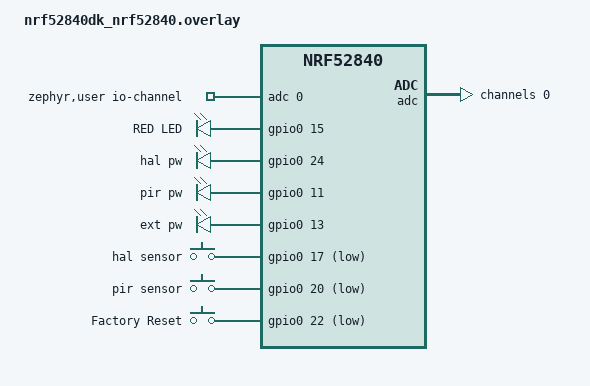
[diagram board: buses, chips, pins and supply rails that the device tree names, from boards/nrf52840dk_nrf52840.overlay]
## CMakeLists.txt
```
#
# Copyright (c) 2025 Nordic Semiconductor ASA
#
# SPDX-License-Identifier: LicenseRef-Nordic-5-Clause
#

cmake_minimum_required(VERSION 3.20.0)

find_package(Zephyr HINTS $ENV{ZEPHYR_BASE})

project(contact_sensor)

# Enable GNU STD support.
include(${ZEPHYR_CONNECTEDHOMEIP_MODULE_DIR}/config/nrfconnect/app/enable-gnu-std.cmake)

# NORDIC SDK APP START

# Include all source files that are located in the Matter common directory.
include(${ZEPHYR_NRF_MODULE_DIR}/samples/matter/common/cmake/source_common.cmake)

# Include Data Model utils
include(${ZEPHYR_NRF_MODULE_DIR}/samples/matter/common/cmake/data_model.cmake)

include(${ZEPHYR_NRF_MODULE_DIR}/samples/matter/common/cmake/zap_helpers.cmake)
ncs_get_zap_parent_dir(ZAP_PARENT_DIR)

target_include_directories(app PRIVATE
  src
  ${ZAP_PARENT_DIR}
)

target_sources(app PRIVATE
  src/app_task.cpp
  src/main.cpp
)

ncs_configure_data_model()
# NORDIC SDK APP END
```

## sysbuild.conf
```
#
# Copyright (c) 2025 Nordic Semiconductor
#
# SPDX-License-Identifier: LicenseRef-Nordic-5-Clause
#

SB_CONFIG_MATTER=y
SB_CONFIG_PARTITION_MANAGER=n
SB_CONFIG_MCUBOOT_MODE_SINGLE_APP=y
```

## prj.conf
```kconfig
#
# Copyright (c) 2025 Nordic Semiconductor ASA
#
# SPDX-License-Identifier: LicenseRef-Nordic-5-Clause
#
CONFIG_ADC=y
CONFIG_GPIO=y
CONFIG_BOOTLOADER_MCUBOOT=y

CONFIG_BOARD_SERIAL_BACKEND_CDC_ACM=n
CONFIG_CDC_ACM_SERIAL_INITIALIZE_AT_BOOT=n
CONFIG_WATCHDOG=y
# Enable CHIP
CONFIG_CHIP=y
CONFIG_CHIP_PROJECT_CONFIG="src/chip_project_config.h"
CONFIG_CHIP_DEVICE_PRODUCT_NAME="Matter Contact Sensor"
CONFIG_CHIP_NFC_ONBOARDING_PAYLOAD=n
# All debug output
CONFIG_SHELL=n
CONFIG_OPENTHREAD_SHELL=n
CONFIG_CHIP_LIB_SHELL=n
CONFIG_CONSOLE=n
CONFIG_UART_CONSOLE=n
CONFIG_SERIAL=n
CONFIG_LOG=n
CONFIG_PRINTK=n
CONFIG_BOOT_BANNER=n
CONFIG_CHIP_APP_LOG_LEVEL=1

CONFIG_SPI_NOR=n
CONFIG_PM_EXTERNAL_FLASH_MCUBOOT_SECONDARY=n
# Configure ZAP file name
CONFIG_NCS_SAMPLE_MATTER_ZAP_FILE_PATH="${APPLICATION_CONFIG_DIR}/src/default_zap/contact_sensor.zap"

# 32768 == 0x8000 (example Product ID added temporaly,
# as there is no assigned PID on the following list:
# https://github.com/project-chip/connectedhomeip/blob/482e6fd03196a6de45465a90003947ef4b86e0b1/docs/examples/discussion/PID_allocation_for_example_apps.md)
CONFIG_CHIP_DEVICE_PRODUCT_ID=32768
CONFIG_STD_CPP17=y

# Enable Matter pairing automatically on application start.
CONFIG_CHIP_ENABLE_PAIRING_AUTOSTART=y
CONFIG_CHIP_ICD_UAT_SUPPORT=n
# Enable Matter extended announcement and increase duration to 1 hour.
CONFIG_CHIP_BLE_EXT_ADVERTISING=y
CONFIG_CHIP_BLE_ADVERTISING_DURATION=60

# Add support for LEDs and buttons on Nordic development kits
CONFIG_DK_LIBRARY=n
CONFIG_NCS_SAMPLE_MATTER_USE_DEFAULT_BUTTON_HANDLER=n
CONFIG_NCS_SAMPLE_MATTER_LEDS=n

# Bluetooth Low Energy configuration
CONFIG_BT_DEVICE_NAME="MatterContact"
CONFIG_BT_DEVICE_NAME_MAX=18

# Suspend devices when the CPU goes into sleep
CONFIG_PM_DEVICE=y

# Other settings
CONFIG_THREAD_NAME=y
CONFIG_MPU_STACK_GUARD=y

# Reduce application size
CONFIG_USE_SEGGER_RTT=n

# Enable Factory Data feature
CONFIG_CHIP_FACTORY_DATA=y
CONFIG_CHIP_FACTORY_DATA_BUILD=y
```

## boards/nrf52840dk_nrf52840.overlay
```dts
/*
 * Copyright (c) 2025 Nordic Semiconductor ASA
 *
 * SPDX-License-Identifier: LicenseRef-Nordic-5-Clause
 */

#include <samples/matter/nrf52840_partitions.dtsi>

/ {
	// chosen {
	// 	nordic,pm-ext-flash = &mx25r64;
	// };
	zephyr,user {

        io-channels = <&adc 0>;
    	};


	leds {

		led0: led_0 {
			gpios = <&gpio0 15 GPIO_ACTIVE_HIGH>;
			label = "RED LED";
		};
		led1: led_1 {
			gpios = <&gpio0 24 GPIO_ACTIVE_HIGH>;
			label = "hal pw";
		};
		led2: led_2 {
			gpios = <&gpio0 11 GPIO_ACTIVE_HIGH>;
			label = "pir pw";
		};
		led3: led_3 {
			gpios = <&gpio0 13 GPIO_ACTIVE_HIGH>;
			label = "ext pw";
		};


	};

	/* 2. Cấu hình lại Buttons */
	buttons {
		compatible = "gpio-keys";

		button0: button_0 {
			gpios = <&gpio0 17 (GPIO_ACTIVE_LOW | GPIO_PULL_UP)>;
			label = "hal sensor";
			zephyr,code = <17>;
		};
		button1: button_1 {
			gpios = <&gpio0 20 (GPIO_ACTIVE_LOW | GPIO_PULL_UP)>;
			label = "pir sensor";
			zephyr,code = <20>;
		};
		button2: button_2 {
			gpios = <&gpio0 22 (GPIO_ACTIVE_LOW | GPIO_PULL_UP)>;
			label = "Factory Reset";
			zephyr,code = <22>;
		};

		/delete-node/ button_3;
    	};
    	aliases {

		// /delete-property/ led0;
		/delete-property/ led1;
		/delete-property/ led2;
		/delete-property/ led3;

		/delete-property/ pwm-led0;
		/delete-property/ mcuboot-button0;
		/delete-property/ mcuboot-led0;
		/delete-property/ sw0;
		/delete-property/ sw1;
		/delete-property/ sw2;
		/delete-property/ sw3;
	};
};
/delete-node/ &pwm_led0;
// &uicr {
//     /delete-property/ gpio-as-nreset;
// };
// &gpregret1 {
// 	//status = "disabled";
// 	/delete-node/ boot_mode@0;
// };
// &gpregret2 {
//     compatible = "nordic,nrf-gpregret";
//     reg = <0x40000520 0x1>;
//     status = "okay";
//     boot_mode0: boot_mode@0 {
//         compatible = "zephyr,retention";
//         reg = <0x0 0x1>;
//         status = "okay";
//     };
// };
&mx25r64 {
	status = "disabled";
};

//disable external flash
&qspi {
    status = "disabled";
    /delete-node/ mx25r6435f@0;
};


&adc {
    status = "okay";
    #address-cells = <1>;
    #size-cells = <0>;
    channel@0 {
        reg = <0>;
        zephyr,gain = "ADC_GAIN_1_6";
        zephyr,reference = "ADC_REF_INTERNAL";
        zephyr,acquisition-time = <ADC_ACQ_TIME_DEFAULT>;
        zephyr,input-positive = <NRF_SAADC_VDDHDIV5>;
        zephyr,resolution = <12>;
    };
};

/delete-node/ &boot_partition;
/delete-node/ &slot0_partition;
/delete-node/ &factory_data_partition;
/delete-node/ &storage_partition;
&flash0 {
    partitions {
        compatible = "fixed-partitions";
        #address-cells = <1>;
        #size-cells = <1>;
		boot_partition: partition@1000 {
        	compatible = "zephyr,mapped-partition";
        	label = "mcuboot";
       		reg = <0x00001000 DT_SIZE_K(28)>;
    	};

    	slot0_partition: partition@8000 {
        	compatible = "zephyr,mapped-partition";
        	label = "image-0";
        	reg = <0x00008000 DT_SIZE_K(896)>;
    	};
		// boot_partition: partition@26000 {
        //     compatible = "zephyr,mapped-partition";
        //     label = "mcuboot";
        //     reg = <0x00026000 DT_SIZE_K(28)>;
        // };

        // slot0_partition: partition@2d000 {
        //     compatible = "zephyr,mapped-partition";
        //     label = "image-0";
        //     reg = <0x0002D000 DT_SIZE_K(748)>;
        // };
		slot1_partition: partition@e8000 {
			compatible = "zephyr,mapped-partition";
			label = "image-1";
			reg = <0x000e8000 DT_SIZE_K(4)>;
		};
		factory_data_partition: partition@e9000 {
			compatible = "zephyr,mapped-partition";
			label = "factory-data";
			reg = <0x000e9000 DT_SIZE_K(4)>;
		};
		storage_partition: partition@ea000 {
			compatible = "zephyr,mapped-partition";
			label = "storage";
			reg = <0x000ea000 DT_SIZE_K(40)>;
		};
    };
};
/* Disable unused peripherals to reduce power consumption */

&uart0 {
	status = "disabled";
};
&uart1 {
	status = "disabled";
};

&i2c0 {
	status = "disabled";
};

&pwm0 {
	status = "disabled";
};

&spi1 {
	status = "disabled";
};

&spi3 {
	status = "disabled";
};

&usbd {
	status = "disabled";
};
&gpio1 {
    status = "disabled";
};
&gpio0 {
    status = "okay";
    sense-edge-mask = <0xffffffff>;
    /delete-property/ gpio-reserved-ranges;
};
&nfct {
	status = "disabled";
};
```

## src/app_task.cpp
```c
/*
 * Copyright (c) 2025 Nordic Semiconductor ASA
 *
 * SPDX-License-Identifier: LicenseRef-Nordic-5-Clause
 */

#include "app_task.h"

#include "app/matter_init.h"
#include "app/task_executor.h"
#include "board/board.h"
#include "clusters/identify.h"

#include "lib/core/CHIPError.h"
#include <app-common/zap-generated/attributes/Accessors.h>
#include <app/clusters/boolean-state-server/CodegenIntegration.h>

#include <zephyr/logging/log.h>
#include <zephyr/drivers/gpio.h>
LOG_MODULE_DECLARE(app, CONFIG_CHIP_APP_LOG_LEVEL);

using namespace ::chip;
using namespace ::chip::app;
using namespace ::chip::DeviceLayer;

namespace
{
constexpr chip::EndpointId kContactSensorEndpointId = 1;
Nrf::Matter::IdentifyCluster sIdentifyCluster(kContactSensorEndpointId);
//

static const struct gpio_dt_spec sensor1 = GPIO_DT_SPEC_GET(DT_NODELABEL(button0), gpios);
static const struct gpio_dt_spec reset_button = GPIO_DT_SPEC_GET(DT_NODELABEL(button2), gpios);
static const struct gpio_dt_spec led0 = GPIO_DT_SPEC_GET(DT_NODELABEL(led0), gpios);
static struct gpio_callback sensor1_cb_data;
static struct gpio_callback reset_cb_data;

} /* namespace */

struct k_work_delayable AppTask::sSensor1Work;
struct k_work_delayable AppTask::sFactoryResetWork;
uint8_t AppTask::sResetStage = 0;
void AppTask::sensor1_isr_handler(const struct device *dev, struct gpio_callback *cb, uint32_t pins) {
    gpio_pin_interrupt_configure_dt(&sensor1, GPIO_INT_DISABLE);
    k_work_schedule(&sSensor1Work, K_MSEC(300));
}
void AppTask::Sensor1TimerHandler(struct k_work *work)
{
    int val = gpio_pin_get_dt(&sensor1);
    Nrf::PostTask([val] {
			auto booleanState =
				app::Clusters::BooleanState::FindClusterOnEndpoint(kContactSensorEndpointId);
			if (booleanState == nullptr) {
				LOG_ERR("Updating contact sensor state failed");
				return;
			}
			booleanState->SetStateValue(val);
		});
	gpio_pin_interrupt_configure_dt(&sensor1, (val == 1) ? GPIO_INT_LEVEL_INACTIVE : GPIO_INT_LEVEL_ACTIVE);
}
void AppTask::FactoryResetIsrHandler(const struct device *dev, struct gpio_callback *cb, uint32_t pins)
{
    gpio_pin_interrupt_configure_dt(&reset_button, GPIO_INT_DISABLE);
    int val = gpio_pin_get_dt(&reset_button);
    if (val == 1) {
        //LOG_INF("Reset button pressed. Starting Stage 1 (3s)...");
        sResetStage = 0;
        k_work_schedule(&sFactoryResetWork, K_MSEC(3000));
        gpio_pin_interrupt_configure_dt(&reset_button, GPIO_INT_LEVEL_INACTIVE);
    } else {
        //LOG_INF("Reset button released. Canceling reset process.");
        k_work_cancel_delayable(&sFactoryResetWork);
        sResetStage = 0;
        gpio_pin_set_dt(&led0, 0);
        gpio_pin_interrupt_configure_dt(&reset_button, GPIO_INT_LEVEL_ACTIVE);
    }
}
void AppTask::FactoryResetTimerHandler(struct k_work *work)
{
    if (sResetStage == 0) {
        LOG_INF("Stage 1 reached: Turning ON LED warning...");
        gpio_pin_set_dt(&led0, 1);
        sResetStage = 1;
        k_work_reschedule(&sFactoryResetWork, K_MSEC(5000));
        
    } else if (sResetStage == 1) {
        LOG_INF("Stage 2 reached: Turning OFF LED and Resetting...");
        gpio_pin_set_dt(&led0, 0);
        sResetStage = 0;
        chip::Server::GetInstance().ScheduleFactoryReset();
    }
}
int AppTask::InitCustomButtons(void)
{
    //SENSOR 1 (Push-Pull: Floating / No Pull) ---
    gpio_pin_configure_dt(&sensor1, GPIO_INPUT| GPIO_PULL_UP);
    int ret =gpio_pin_interrupt_configure_dt(&sensor1, GPIO_INT_LEVEL_ACTIVE);
    if (ret) {
        LOG_ERR("Failed to configure interrupt: %d", ret);
        return ret;
    }
    gpio_init_callback(&sensor1_cb_data, sensor1_isr_handler, BIT(sensor1.pin));
    gpio_add_callback(sensor1.port, &sensor1_cb_data);

	//FACTORY RESET (Pull-Up)
    gpio_pin_configure_dt(&reset_button, GPIO_INPUT| GPIO_PULL_UP);
    ret = gpio_pin_interrupt_configure_dt(&reset_button, GPIO_INT_LEVEL_ACTIVE);
    if (ret) {
        LOG_ERR("Failed to configure interrupt: %d", ret);
        return ret;
    }
    gpio_init_callback(&reset_cb_data, FactoryResetIsrHandler, BIT(reset_button.pin));
    gpio_add_callback(reset_button.port, &reset_cb_data);

	//output
    gpio_pin_configure_dt(&led0, GPIO_OUTPUT_INACTIVE);
    LOG_INF("Custom Buttons initialized successfully");
    return 0;
}

CHIP_ERROR AppTask::Init()
{
	/* Initialize Matter stack */
	ReturnErrorOnFailure(Nrf::Matter::PrepareServer());
    k_work_init_delayable(&sSensor1Work, AppTask::Sensor1TimerHandler);
	k_work_init_delayable(&sFactoryResetWork, AppTask::FactoryResetTimerHandler);
	if (InitCustomButtons() != 0) {
		LOG_ERR("User interface initialization failed.");
		return CHIP_ERROR_INCORRECT_STATE;
	}
	ReturnErrorOnFailure(sIdentifyCluster.Init());
	return Nrf::Matter::StartServer();
}

CHIP_ERROR AppTask::StartApp()
{

	ReturnErrorOnFailure(Init());

	while (true) {
		Nrf::DispatchNextTask();
	}

	return CHIP_NO_ERROR;
}
```

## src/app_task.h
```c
/*
 * Copyright (c) 2025 Nordic Semiconductor ASA
 *
 * SPDX-License-Identifier: LicenseRef-Nordic-5-Clause
 */

#pragma once

#include "board/board.h"

#include <platform/CHIPDeviceLayer.h>

struct Identify;

class AppTask {
public:
	static AppTask &Instance()
	{
		static AppTask sAppTask;
		return sAppTask;
	};
	CHIP_ERROR StartApp();

private:
	CHIP_ERROR Init();
	static uint8_t sResetStage;
	static struct k_work_delayable sFactoryResetWork;
	static struct k_work_delayable sSensor1Work;
	static void FactoryResetIsrHandler(const struct device *dev, struct gpio_callback *cb, uint32_t pins);
    static void FactoryResetTimerHandler(struct k_work *work);
	static void sensor1_isr_handler(const struct device *dev, struct gpio_callback *cb, uint32_t pins);
	static void Sensor1TimerHandler(struct k_work *work);
	int InitCustomButtons(void);
};
```
